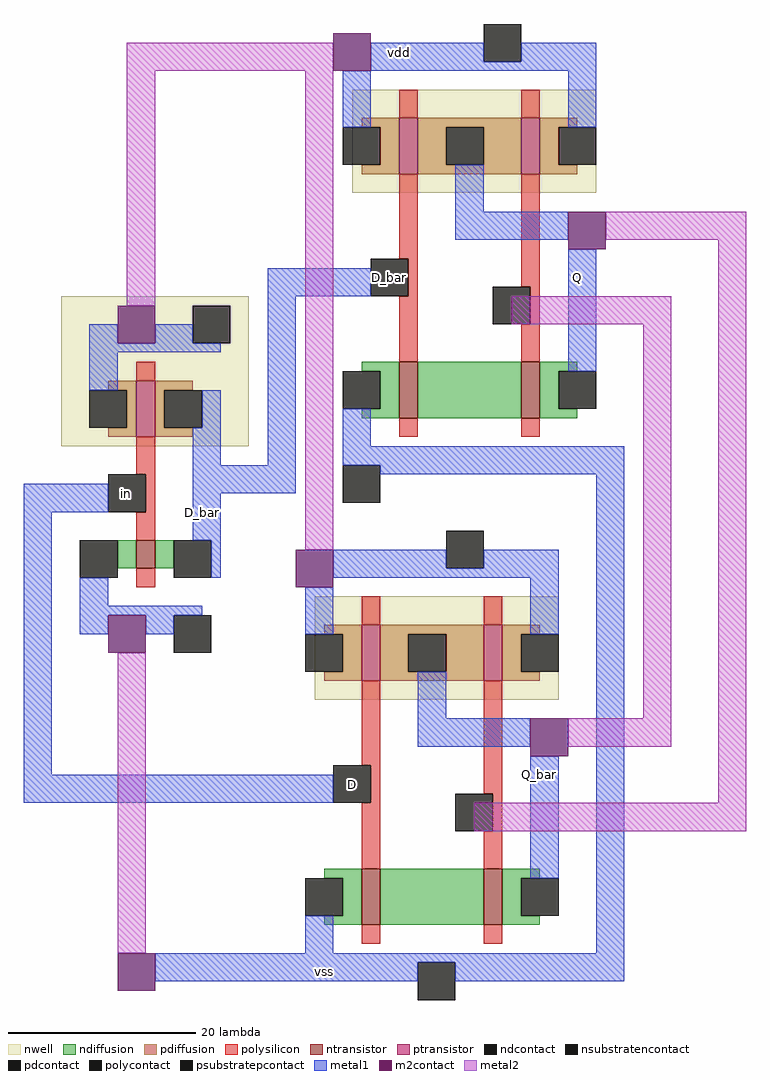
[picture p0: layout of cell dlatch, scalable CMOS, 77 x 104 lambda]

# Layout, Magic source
magic
tech scmos
<< nwell >>
rect 31 49 57 60
rect 0 22 20 38
rect 27 -5 53 6
<< polysilicon >>
rect 36 57 38 60
rect 49 57 51 60
rect 36 42 38 51
rect 37 38 38 42
rect 49 39 51 51
rect 36 31 38 38
rect 50 35 51 39
rect 49 31 51 35
rect 8 29 10 31
rect 36 23 38 25
rect 49 23 51 25
rect 8 19 10 23
rect 9 15 10 19
rect 8 12 10 15
rect 8 7 10 9
rect 32 3 34 6
rect 45 3 47 6
rect 32 -12 34 -3
rect 33 -16 34 -12
rect 45 -15 47 -3
rect 32 -23 34 -16
rect 46 -19 47 -15
rect 45 -23 47 -19
rect 32 -31 34 -29
rect 45 -31 47 -29
<< ndiffusion >>
rect 32 30 36 31
rect 34 26 36 30
rect 32 25 36 26
rect 38 25 49 31
rect 51 30 55 31
rect 51 26 53 30
rect 51 25 55 26
rect 6 9 8 12
rect 10 9 12 12
rect 28 -24 32 -23
rect 30 -28 32 -24
rect 28 -29 32 -28
rect 34 -29 45 -23
rect 47 -24 51 -23
rect 47 -28 49 -24
rect 47 -29 51 -28
<< pdiffusion >>
rect 32 56 36 57
rect 34 52 36 56
rect 32 51 36 52
rect 38 56 49 57
rect 38 52 41 56
rect 45 52 49 56
rect 38 51 49 52
rect 51 56 55 57
rect 51 52 53 56
rect 51 51 55 52
rect 5 28 8 29
rect 7 24 8 28
rect 5 23 8 24
rect 10 28 14 29
rect 10 24 11 28
rect 10 23 14 24
rect 28 2 32 3
rect 30 -2 32 2
rect 28 -3 32 -2
rect 34 2 45 3
rect 34 -2 37 2
rect 41 -2 45 2
rect 34 -3 45 -2
rect 47 2 51 3
rect 47 -2 49 2
rect 47 -3 51 -2
<< metal1 >>
rect 33 63 45 65
rect 49 63 57 65
rect 33 62 57 63
rect 30 56 33 62
rect 54 56 57 62
rect 42 47 45 52
rect 42 44 54 47
rect 22 38 33 41
rect 3 33 6 35
rect 10 33 14 35
rect 3 32 17 33
rect 3 28 6 32
rect 15 24 17 28
rect 14 20 17 24
rect 22 20 25 38
rect 54 30 57 43
rect -4 15 5 18
rect 14 17 25 20
rect 30 22 33 26
rect 30 20 60 22
rect -4 -13 -1 15
rect 14 12 17 17
rect 34 19 60 20
rect 16 8 17 12
rect 2 5 5 8
rect 29 9 41 11
rect 45 9 53 11
rect 29 8 53 9
rect 2 4 15 5
rect 2 2 5 4
rect 9 2 12 4
rect 26 2 29 7
rect 50 2 53 8
rect 38 -7 41 -2
rect 38 -10 50 -7
rect -4 -16 29 -13
rect 50 -24 53 -11
rect 26 -32 29 -28
rect 57 -32 60 19
rect 10 -33 60 -32
rect 10 -35 38 -33
rect 42 -35 60 -33
<< metal2 >>
rect 7 62 29 65
rect 7 37 10 62
rect 26 11 29 62
rect 58 44 73 47
rect 48 35 65 38
rect 6 -32 9 0
rect 62 -7 65 35
rect 54 -10 65 -7
rect 70 -16 73 44
rect 44 -19 73 -16
<< ntransistor >>
rect 36 25 38 31
rect 49 25 51 31
rect 8 9 10 12
rect 32 -29 34 -23
rect 45 -29 47 -23
<< ptransistor >>
rect 36 51 38 57
rect 49 51 51 57
rect 8 23 10 29
rect 32 -3 34 3
rect 45 -3 47 3
<< polycontact >>
rect 33 38 37 42
rect 46 35 50 39
rect 5 15 9 19
rect 29 -16 33 -12
rect 42 -19 46 -15
<< ndcontact >>
rect 30 26 34 30
rect 53 26 57 30
rect 2 8 6 12
rect 12 8 16 12
rect 26 -28 30 -24
rect 49 -28 53 -24
<< pdcontact >>
rect 30 52 34 56
rect 41 52 45 56
rect 53 52 57 56
rect 3 24 7 28
rect 11 24 15 28
rect 26 -2 30 2
rect 37 -2 41 2
rect 49 -2 53 2
<< m2contact >>
rect 29 62 33 66
rect 54 43 58 47
rect 6 33 10 37
rect 25 7 29 11
rect 5 0 9 4
rect 50 -11 54 -7
rect 6 -36 10 -32
<< psubstratepcontact >>
rect 30 16 34 20
rect 12 0 16 4
rect 38 -37 42 -33
<< nsubstratencontact >>
rect 45 63 49 67
rect 14 33 18 37
rect 41 9 45 13
<< labels >>
rlabel metal1 15 15 15 15 1 D_bar
rlabel polycontact 31 -14 31 -14 1 D
rlabel metal1 28 -34 28 -34 1 vss
rlabel metal1 51 -13 51 -13 3 Q_bar
rlabel metal1 55 40 55 40 3 Q
rlabel polycontact 35 40 35 40 1 D_bar
rlabel metal1 36 64 36 64 5 vdd
rlabel polycontact 7 17 7 17 1 in
<< end >>
